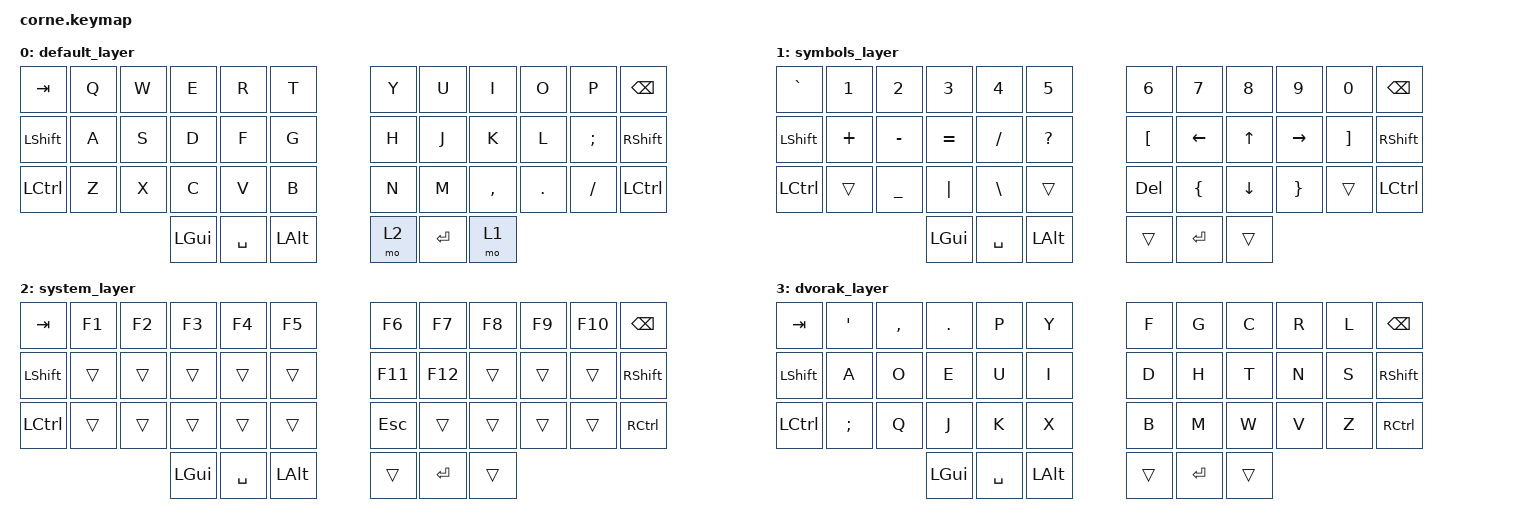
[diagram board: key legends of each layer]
/*
 * Copyright (c) 2020 The ZMK Contributors
 *
 * SPDX-License-Identifier: MIT
 */

#include <behaviors.dtsi>
#include <dt-bindings/zmk/keys.h>
#include <dt-bindings/zmk/bt.h>

/ {
    keymap {
		compatible = "zmk,keymap";

		// regular qwerty, can be mapped to e.g. dvorak on the host
		default_layer {
		bindings = <
			&kp TAB   &kp Q &kp W &kp E &kp R &kp T   &kp Y &kp U  &kp I     &kp O   &kp P    &kp BSPC
			&kp LSHFT &kp A &kp S &kp D &kp F &kp G   &kp H &kp J  &kp K     &kp L   &kp SEMI &kp RSHFT
			&kp LCTRL &kp Z &kp X &kp C &kp V &kp B   &kp N &kp M  &kp COMMA &kp DOT &kp FSLH &kp LCTRL
						&kp LGUI &kp SPACE &kp LALT   &mo 2 &kp RET &mo 1
		>;
		};

		symbols_layer {
		bindings = <
			// TODO:
			// plus, minus, equal, slash, question, lbkt, rbkt
			// under, pipe, backslash, lbrc, rbrc
			&kp GRAVE  &kp N1   &kp N2    &kp N3    &kp N4		  &kp N5			&kp N6   &kp N7   &kp N8   &kp N9    &kp N0	  &kp BSPC
			&kp LSHFT  &kp PLUS &kp MINUS &kp EQUAL &kp SLASH	  &kp QUESTION		&kp LBKT &kp LEFT &kp UP   &kp RIGHT &kp RBKT &kp RSHFT
			&kp LCTRL  &trans   &kp UNDER &kp PIPE  &kp BACKSLASH &trans			&kp DEL	 &kp LBRC &kp DOWN &kp RBRC	 &trans	  &kp LCTRL
										  &kp LGUI  &kp SPACE	  &kp LALT			&trans   &kp RET  &trans
		>;
		};

		system_layer {
		bindings = <
			&kp  TAB  &kp F1 &kp F2 &kp F3 &kp F4 &kp F5		&kp F6	&kp F7	&kp F8 &kp F9 &kp F10 &kp BSPC
			&kp LSHFT &trans &trans &trans &trans &trans		&kp F11 &kp F12	&trans &trans &trans  &kp RSHFT
			&kp LCTRL &trans &trans &trans &trans &trans		&kp ESC &trans  &trans &trans &trans  &kp RCTRL
							 &kp LGUI &kp SPACE &kp LALT		&trans &kp RET &trans
		>;
		};

		// raw dvorak, messes with keycodes (only useful when host is not remapping qwerty to dvorak, since this layer messes with keycodes)
		dvorak_layer {
		bindings = <
			&kp TAB   &kp SQT  &kp COMMA &kp DOT   &kp P &kp Y		&kp F  &kp G   &kp C &kp R &kp L &kp BSPC
			&kp LSHFT &kp A    &kp O     &kp E     &kp U &kp I		&kp D  &kp H   &kp T &kp N &kp S &kp RSHFT
			&kp LCTRL &kp SEMI &kp Q     &kp J     &kp K &kp X		&kp B  &kp M   &kp W &kp V &kp Z &kp RCTRL
							   &kp LGUI  &kp SPACE &kp LALT			&trans &kp RET &trans
		>;
		};
	};

    conditional_layers {
        compatible = "zmk,conditional-layers";
        tri_layer {
            if-layers = <1 2>;
            then-layer = <3>;
        };
    };
};
